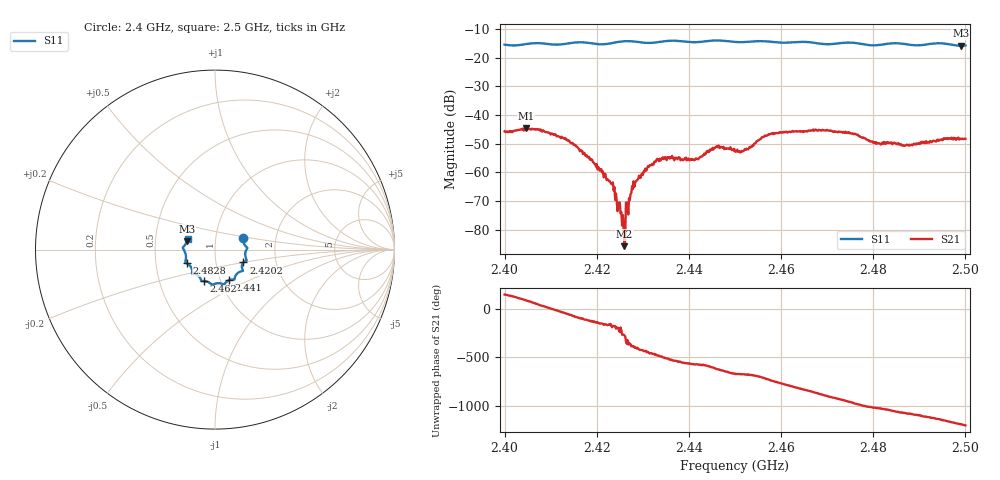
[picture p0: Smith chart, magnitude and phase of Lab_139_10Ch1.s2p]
# Hz S RI R 50
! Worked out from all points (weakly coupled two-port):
!   601 points, 2.4 GHz to 2.5 GHz, reference 50 ohm
!   highest |S21| = -44.62 dB at 2.4047 GHz (marker M1); lowest = -85.8 dB at 2.426 GHz (marker M2)
!   lowest |S11| = -15.8 dB at 2.499 GHz (marker M3), VSWR 1.39, Z = 36.4 + j3.53 ohm
!   |S11| at or under -10 dB: start of sweep to end of sweep
!   S12 and S22 are empty: the file has one direction only
!   S11 on the Smith chart (normalised r, x): 2.4 GHz: 1.36, +0.17; 2.4202 GHz: 1.36, -0.20; 2.441 GHz: 1.10, -0.39; 2.462 GHz: 0.84, -0.30; 2.4828 GHz: 0.72, -0.11; 2.5 GHz: 0.73, +0.09
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2.4e9  0.1581 0.0619  -0.00425 0.003  0 0  0 0
2.404667e9  0.1733 0.016  0.00062 0.00584  0 0  0 0
2.412833e9  0.1695 -0.0383  0.00292 -0.00264  0 0  0 0
2.416667e9  0.1767 -0.0605  -0.00062 -0.00234  0 0  0 0
2.420167e9  0.158 -0.0719  -0.000872 -0.000723  0 0  0 0
2.423333e9  0.1503 -0.1008  -0.000607 0.000132  0 0  0 0
2.425667e9  0.1557 -0.1162  -8.01e-06 0.00018  0 0  0 0
2.426e9  0.1561 -0.1173  6.82e-06 5.11e-05  0 0  0 0
2.428167e9  0.1508 -0.1197  0.000413 -0.000376  0 0  0 0
2.433333e9  0.1116 -0.1511  -0.001 -0.00135  0 0  0 0
2.441e9  0.078 -0.1702  -0.0014 0.000914  0 0  0 0
2.446e9  0.05 -0.1948  -0.000355 0.00283  0 0  0 0
2.45e9  0.0277 -0.1874  0.00145 0.00182  0 0  0 0
2.452833e9  0.000257 -0.1903  0.00185 0.0017  0 0  0 0
2.457667e9  -0.0236 -0.1897  0.00443 -0.00142  0 0  0 0
2.462e9  -0.0609 -0.1755  0.00117 -0.00494  0 0  0 0
2.466667e9  -0.0788 -0.1678  -0.00386 -0.00381  0 0  0 0
2.4745e9  -0.1268 -0.1344  -0.0027 0.00405  0 0  0 0
2.482833e9  -0.1571 -0.0767  0.00251 0.00221  0 0  0 0
2.483333e9  -0.1601 -0.0754  0.00262 0.00193  0 0  0 0
2.499e9  -0.1556 0.0472  -0.00142 -0.00361  0 0  0 0
2.5e9  -0.1524 0.0612  -0.00216 -0.00322  0 0  0 0
